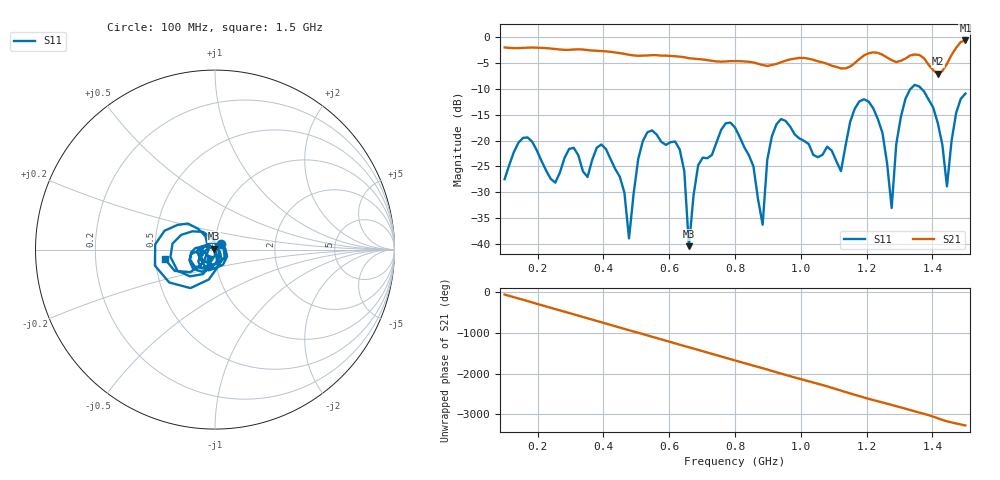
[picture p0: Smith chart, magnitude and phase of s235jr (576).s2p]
! NanoVNA-App
! Date: 2025-09-25 15:08:39
! Start: 100MHz Stop: 1,5GHz Points: 101
! S-Parameter data: F S11 S21 S12 S22
# Hz S RI R 50
!  Frequency  S11_Real  S11_Imag  S21_Real  S21_Imag  S12_Real  S12_Imag  S22_Real  S22_Imag
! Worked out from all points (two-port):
!   101 points, 100 MHz to 1.5 GHz, reference 50 ohm
!   highest |S21| = -0.60 dB at 1.5 GHz (marker M1); lowest = -7.1 dB at 1.416 GHz (marker M2)
!   |S21| within 3 dB of the highest: start of sweep to 602.8 MHz; 1.19 GHz to 1.254 GHz (64.02 MHz wide, 5.24 % of centre) (the widest 2 of 4)
!   lowest |S11| = -40.4 dB at 660 MHz (marker M3), VSWR 1.02, Z = 49.3 + j0.597 ohm
!   |S11| at or under -10 dB: start of sweep to 1.333 GHz; 1.367 GHz to end of sweep
!   S12 and S22 are empty: the file has one direction only
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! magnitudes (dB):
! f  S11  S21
! 100 MHz  -27.5  -2.0
! 156 MHz  -19.5  -2.0
! 338 MHz  -26.0  -2.4
! 408 MHz  -21.6  -2.7
! 478 MHz  -38.9  -3.4
! 520 MHz  -20.1  -3.5
! 576 MHz  -20.2  -3.5
! 632 MHz  -21.7  -3.7
! 660 MHz  -40.4  -4.0
! 688 MHz  -24.8  -4.2
! 800 MHz  -17.5  -4.6
! 884 MHz  -36.3  -5.4
! 926 MHz  -16.8  -5.1
! 1.038 GHz  -22.8  -4.4
! 1.122 GHz  -25.9  -6.0
! 1.206 GHz  -12.4  -3.1
! 1.276 GHz  -33.1  -4.4
! 1.29 GHz  -20.7  -4.8
! 1.332 GHz  -10.1  -3.5
! 1.416 GHz  -16.6  -7.1
! 1.444 GHz  -28.9  -5.1
! 1.5 GHz  -10.9  -0.6
